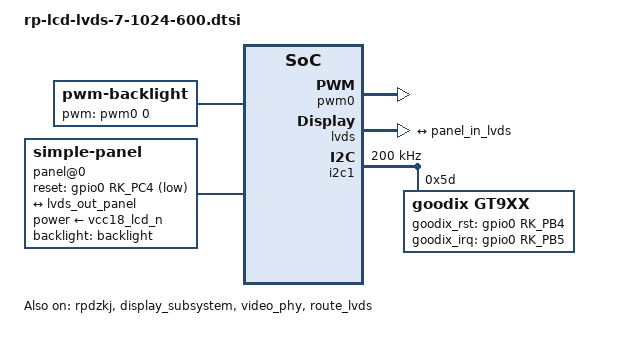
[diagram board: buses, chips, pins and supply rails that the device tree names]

/{
	backlight: backlight {
		compatible = "pwm-backlight";
		pwms = <&pwm0 0 25000 0>;
		brightness-levels = <
			  0   1   2   3   4   5   6   7
			  8   9  10  11  12  13  14  15
			 16  17  18  19  20  21  22  23
			 24  25  26  27  28  29  30  31
			 32  33  34  35  36  37  38  39
			 40  41  42  43  44  45  46  47
			 48  49  50  51  52  53  54  55
			 56  57  58  59  60  61  62  63
			 64  65  66  67  68  69  70  71
			 72  73  74  75  76  77  78  79
			 80  81  82  83  84  85  86  87
			 88  89  90  91  92  93  94  95
			 96  97  98  99 100 101 102 103
			104 105 106 107 108 109 110 111
			112 113 114 115 116 117 118 119
			120 121 122 123 124 125 126 127
			128 129 130 131 132 133 134 135
			136 137 138 139 140 141 142 143
			144 145 146 147 148 149 150 151
			152 153 154 155 156 157 158 159
			160 161 162 163 164 165 166 167
			168 169 170 171 172 173 174 175
			176 177 178 179 180 181 182 183
			184 185 186 187 188 189 190 191
			192 193 194 195 196 197 198 199
			200 201 202 203 204 205 206 207
			208 209 210 211 212 213 214 215
			216 217 218 219 220 221 222 223
			224 225 226 227 228 229 230 231
			232 233 234 235 236 237 238 239
			240 241 242 243 244 245 246 247
			248 249 250 251 252 253 254 255>;
		default-brightness-level = <200>;
	};
	
	
	panel@0 {
		compatible = "simple-panel";
		reg = <0>;
		backlight = <&backlight>;

		prepare-delay-ms = <20>;
		enable-delay-ms = <20>;
		disable-delay-ms = <20>;
		unprepare-delay-ms = <20>;

		width-mm = <217>;
		height-mm = <136>;
		bus-format = <MEDIA_BUS_FMT_RGB888_1X7X4_JEIDA>;
		
		power-supply = <&vcc18_lcd_n>;
		reset-gpios = <&gpio0 RK_PC4 GPIO_ACTIVE_LOW>;

        disp_timings0: display-timings {
            native-mode = <&lvds_timing0>;
            lvds_timing0: timing0 {
                clock-frequency = <45000000>;
                hactive = <1024>;
                vactive = <600>;
                hback-porch = <160>;
                hfront-porch = <160>;
                vback-porch = <23>;
                vfront-porch = <12>;
                hsync-len = <20>;
                vsync-len = <3>;
                hsync-active = <0>;
                vsync-active = <0>;
                de-active = <0>;
                pixelclk-active = <0>;
            };
        };
		
		ports {
			#address-cells = <1>;
			#size-cells = <0>;

			port@0 {
				reg = <0>;
				panel_in_lvds: endpoint {
					remote-endpoint = <&lvds_out_panel>;
				};
			};
		};
	};
};


&rpdzkj {
        compatible = "rp_config";
        user_version = "rpdzkj";
        system_rotate = "0";
        csi_camera_rotate = "0"; //all csi camera rotation //0 90 180 270 //no effect
        csi_camera_facing = "0"; //0:auto  1:all front   2:all back //no effect
        usb_camera_rotate = "0"; //all usb camera rotation //0 90 180 270 
        usb_camera_facing = "0"; //0:auto  1:all front   2:all back
        lcd_density = "180";
        language = "zh-CN";   //zh-CN //en-US
        time_zone = "Asia/Shanghai"; //Asia/Shanghai = +8   //Europe/London  = +1       //Africa/Casablanca     = +0;
        not_navigation_bar = "false";
        not_status_bar = "false";
        default_launcher = "true";
        has_root = "true";
        usb_not_permission = "true";
        gps_use = "false";
        gps_serial_port = "/dev/ttyS0";
        primary_device = "LVDS";
        extend_device = "HDMI-A";
        extend_rotate = "0";//0 0//1 90 //2 180 //3 270
        rotation_efull = "true";
        extend_rotate_2 = "0";//0 0//1 90 //2 180 //3 270
        rotation_efull_2 = "true";
        extend_rotate_3 = "0";//0 0//1 90 //2 180 //3 270
        rotation_efull_3 = "true";
        home_apk = "null";
        status = "okay";
};


&pwm0 {
       status = "okay";
};

&display_subsystem {
	status = "okay";
};

&lvds {
	status = "okay";

	ports {
		#address-cells = <1>;
		#size-cells = <0>;

		port@1 {
			reg = <1>;
			lvds_out_panel: endpoint {
				remote-endpoint = <&panel_in_lvds>;
			};
		};
	};
};

&lvds_vopb_in {
	status = "okay";
};

&video_phy {
	status = "okay";
};

&route_lvds {
	connect = <&vopb_out_lvds>;
	status = "okay";
};

&dsi_in_vopb {
        status = "disabled";
};

&route_dsi {
        status = "disabled";
};

// TP
&i2c1 {
        status = "okay";
        clock-frequency = <200000>;
	
    	gt9xx: goodix_ts@5d {
        	/***** tp pin ******/
     		pinctrl-names = "default";
       		pinctrl-0 = <&goodix_irq>;
        	goodix_rst_gpio = <&gpio0 RK_PB4 GPIO_ACTIVE_HIGH>;
        	goodix_irq_gpio = <&gpio0 RK_PB5 IRQ_TYPE_EDGE_FALLING>;

		status = "okay";
		compatible = "goodix,gt9xx";
		reg = <0x5d>;
		gtp_resolution_x = <1024>;
		gtp_resolution_y = <600>;
		gtp_int_tarigger = <1>;
		gtp_change_x2y = <0>;
		gtp_overturn_x = <0>;
		gtp_overturn_y = <0>;
		gtp_send_cfg = <1>;
		gtp_touch_wakeup = <1>;
		

		goodix,cfg-group0 = [
			5A 00 04 58 02 05 3D 00 01
			08 32 0F 5A 32 03 05 00 00
			00 00 02 00 00 18 1A 1E 14
			87 29 0A 55 57 B5 06 00 00
			00 20 33 1C 14 01 00 0F 00
			2B FF 7F 19 46 32 3C 78 94
			D5 02 08 00 00 04 98 40 00
			8A 4A 00 80 55 00 77 61 00
			6F 70 00 6F 00 00 00 00 F0
			40 30 FF FF 27 00 00 00 00
			00 00 00 00 00 00 00 00 00
			00 00 00 00 00 00 00 00 00
			00 00 00 00 02 04 06 08 0A
			0C 0E 10 12 14 FF FF FF FF
			00 00 00 00 00 00 00 00 00
			00 00 00 00 00 00 00 00 02
			04 06 08 0A 0C 1D 1E 1F 20
			21 22 24 26 28 29 2A FF FF
			FF FF FF FF FF FF 00 00 00
			00 00 00 00 00 00 00 00 00
			00 00 00 00 6F 01
		];
     	};
};


&pinctrl {
    goodix {
        goodix_irq: goodix-irq {
            rockchip,pins = <0 RK_PB5 RK_FUNC_GPIO &pcfg_pull_up>;
        };
    };
};
